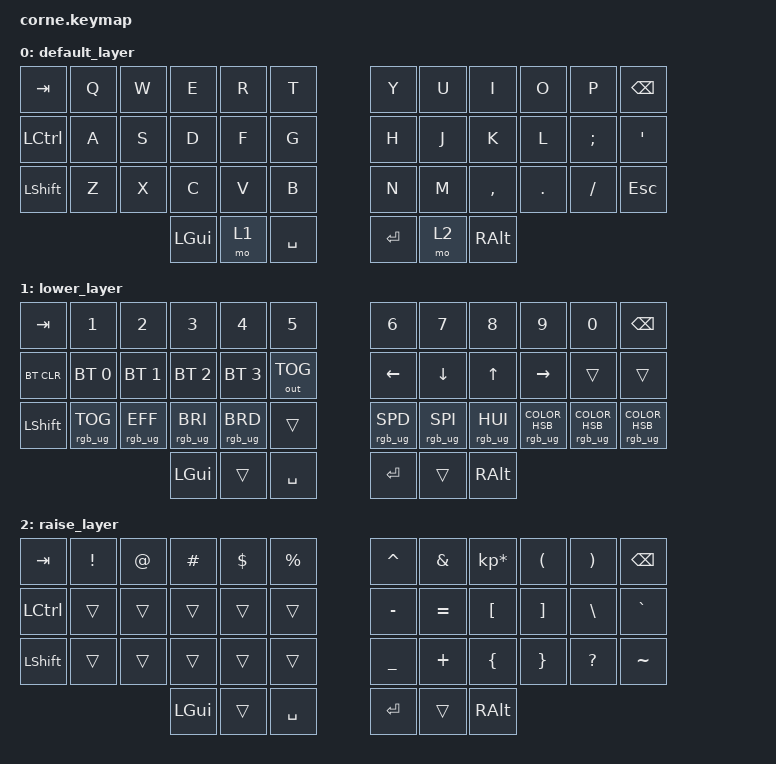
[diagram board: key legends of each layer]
/*
 * Copyright (c) 2020 The ZMK Contributors
 *
 * SPDX-License-Identifier: MIT
 * Esse é um comentário meu, a toa, só para alterar algo. É o terceiro fork que tento fazer.
 */

#include <behaviors.dtsi>
#include <dt-bindings/zmk/keys.h>
#include <dt-bindings/zmk/bt.h>
#include <dt-bindings/zmk/rgb.h>
#include <dt-bindings/zmk/outputs.h>

/*
 * Temporarily here because nice nano v2 spi is not defined on ZMk Yet
 * Source: https://github.com/zmkfirmware/zmk/blob/main/app/boards/shields/reviung41/boards/nice_nano.overlay
 * GitHub Issue: https://github.com/zmkfirmware/zmk/issues/885
 */

&spi1 {
   compatible = "nordic,nrf-spim";
   status = "okay";
   mosi-pin = <6>;
   // Unused pins, needed for SPI definition, but not used by the ws2812 driver itself.
   sck-pin = <5>;
   miso-pin = <7>;

   led_strip: ws2812@0 {
      compatible = "worldsemi,ws2812-spi";
      label = "WS2812";

      /* SPI */
      reg = <0>; /* ignored, but necessary for SPI bindings */
      spi-max-frequency = <4000000>;

      /* WS2812 */
      chain-length = <200>; /* arbitrary; change at will */
      spi-one-frame = <0x70>;
      spi-zero-frame = <0x40>;
   };
};

/ {
   chosen {
      zmk,underglow = &led_strip;
   };
};


/*
 * Above Temporarily here because nice nano v2 spi is not defined on ZMk Yet
 * Source: https://github.com/zmkfirmware/zmk/blob/main/app/boards/shields/reviung41/boards/nice_nano.overlay
 * GitHub Issue: https://github.com/zmkfirmware/zmk/issues/885
 */

/ {
        keymap {
                compatible = "zmk,keymap";

                default_layer {
// -----------------------------------------------------------------------------------------
// |  TAB |  Q  |  W  |  E  |  R  |  T  |   |  Y  |  U   |  I  |  O  |  P  | BKSP |
// | CTRL |  A  |  S  |  D  |  F  |  G  |   |  H  |  J   |  K  |  L  |  ;  |  '   |
// | SHFT |  Z  |  X  |  C  |  V  |  B  |   |  N  |  M   |  ,  |  .  |  /  | ESC  |
//                    | GUI | LWR | SPC |   | ENT | RSE  | ALT |
                        bindings = <
   &kp TAB   &kp Q &kp W &kp E &kp R &kp T   &kp Y &kp U  &kp I     &kp O   &kp P    &kp BSPC
   &kp LCTRL &kp A &kp S &kp D &kp F &kp G   &kp H &kp J  &kp K     &kp L   &kp SEMI &kp SQT
   &kp LSHFT &kp Z &kp X &kp C &kp V &kp B   &kp N &kp M  &kp COMMA &kp DOT &kp FSLH &kp ESC
                  &kp LGUI &mo 1 &kp SPACE   &kp RET &mo 2 &kp RALT
                        >;
                };
                lower_layer {
// -----------------------------------------------------------------------------------------
// |  TAB |  1  |  2  |  3  |  4  |  5  |   |  6  |  7  |  8  |  9  |  0  | BKSP |
// | BTCLR| BT1 | BT2 | BT3 | BT4 |USBTt|   | LFT | DWN |  UP | RGT |     |      |
// | SHFT |RGBto|RGBef|RGB+ |RGB- |     |   |RGBspd|  RGBspi   | Hue|  Blue   |  White   |  Green    |
//                    | GUI |     | SPC |   | ENT |     | ALT |
                        bindings = <
   &kp TAB    &kp N1       &kp N2       &kp N3       &kp N4       &kp N5         &kp N6   &kp N7   &kp N8 &kp N9    &kp N0 &kp BSPC
   &bt BT_CLR &bt BT_SEL 0 &bt BT_SEL 1 &bt BT_SEL 2 &bt BT_SEL 3 &out OUT_TOG   &kp LEFT &kp DOWN &kp UP &kp RIGHT &trans &trans
   &kp LSHFT  &rgb_ug RGB_TOG     &rgb_ug RGB_EFF     &rgb_ug RGB_BRI     &rgb_ug RGB_BRD     &trans   &rgb_ug RGB_SPD &rgb_ug RGB_SPI &rgb_ug RGB_HUI &rgb_ug RGB_COLOR_HSB(206,20,94) &rgb_ug RGB_COLOR_HSB(65,0,100) &rgb_ug RGB_COLOR_HSB(65,100,100)
                          	        &kp LGUI     &trans       &kp SPACE      &kp RET  &trans   &kp RALT
                        >;
                };

                raise_layer {
// -----------------------------------------------------------------------------------------
// |  TAB |  !  |  @  |  #  |  $  |  %  |   |  ^  |  &  |  *  |  (  |  )  | BKSP |
// | CTRL |     |     |     |     |     |   |  -  |  =  |  [  |  ]  |  \  |  `   |
// | SHFT |     |     |     |     |     |   |  _  |  +  |  {  |  }  |  ?  |  ~   |
//                    | GUI |     | SPC |   | ENT |     | ALT |
                        bindings = <
   &kp  TAB  &kp EXCL &kp AT &kp HASH &kp DLLR &kp PRCNT   &kp CARET &kp AMPS  &kp KP_MULTIPLY &kp LPAR &kp RPAR &kp BSPC
   &kp LCTRL &trans   &trans &trans   &trans   &trans      &kp MINUS &kp EQUAL &kp LBKT        &kp RBKT &kp BSLH &kp GRAVE
   &kp LSHFT &trans   &trans &trans   &trans   &trans      &kp UNDER &kp PLUS  &kp LBRC        &kp RBRC &kp QMARK &kp TILDE
                    	     &kp LGUI &trans   &kp SPACE   &kp RET   &trans    &kp RALT
                        >;
                };
        };
};
